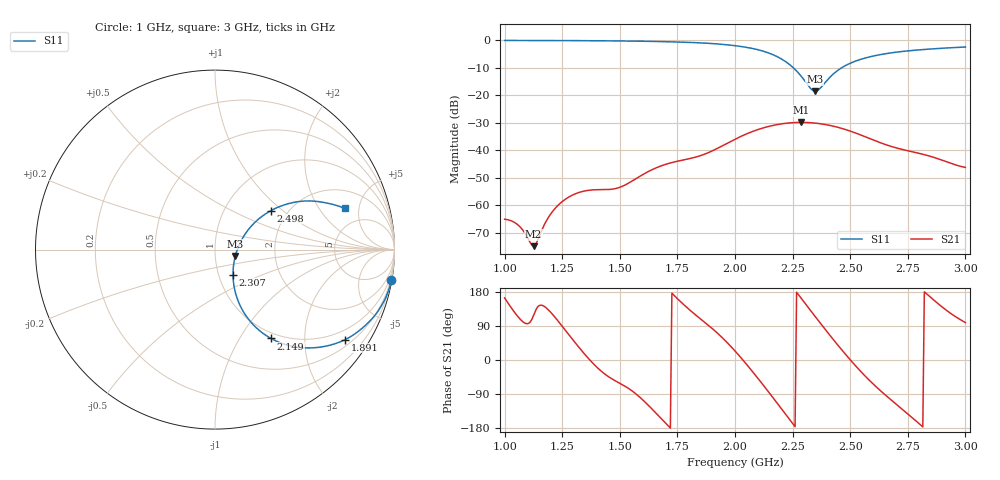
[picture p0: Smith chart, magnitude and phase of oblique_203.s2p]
! TOUCHSTONE file generated by CST MICROWAVE STUDIO
! Date and time: Tue Mar 18 00:03:03 2025
! Project name: oblique.cst
! Parameters = {Tilt=40; Fracture=1; B=12.5; D=160; F=25; Feed=2.85625; L=100; M=30; R=0.384908; S=1; Theta=180; length=57.125; wave=114.25}
! Header version: 2024
! Port assignment regex: !\s*Touchstone port\s*([0-9]+)\s*=\s*(CST MWS port|CST DES external port|CST DES block port)\s*(.+)\s* \(\"(.*)\"\)(\s*mode\s*([0-9]+))?.*
! Touchstone port assignment:
! Touchstone port 1 = CST MWS port 1 ("")
! Touchstone port 2 = CST MWS port 2 ("")
# GHz S DB R 50
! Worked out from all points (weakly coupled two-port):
!   304 points, 1 GHz to 3 GHz, reference 50 ohm
!   highest |S21| = -29.86 dB at 2.287 GHz (marker M1); lowest = -75.0 dB at 1.125 GHz (marker M2)
!   lowest |S11| = -18.5 dB at 2.347 GHz (marker M3), VSWR 1.27, Z = 62.6 - j4.42 ohm
!   |S11| at or under -10 dB: 2.254 GHz to 2.462 GHz (208.7 MHz wide, 8.85 % of centre)
!   S12 and S22 are empty: the file has one direction only
!   S11 on the Smith chart (normalised r, x): 1 GHz: 0, -12; 1.891 GHz: 0.68, -3.06; 2.149 GHz: 0.92, -1.38; 2.307 GHz: 1.17, -0.34; 2.498 GHz: 1.64, +0.84; 3 GHz: 3.28, +3.54
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1  -0.02 -9.8  -65.14 164.0  -200.00 0.0  -200.00 0.0
1.05941  -0.03 -10.6  -67.32 113.3  -200.00 0.0  -200.00 0.0
1.12541  -0.03 -11.6  -74.95 117.3  -200.00 0.0  -200.00 0.0
1.13861  -0.04 -11.8  -73.69 135.8  -200.00 0.0  -200.00 0.0
1.18482  -0.05 -12.5  -65.19 135.4  -200.00 0.0  -200.00 0.0
1.21782  -0.06 -13.1  -61.32 113.4  -200.00 0.0  -200.00 0.0
1.27063  -0.07 -14.0  -57.47 73.1  -200.00 0.0  -200.00 0.0
1.33663  -0.10 -15.3  -55.06 23.1  -200.00 0.0  -200.00 0.0
1.49505  -0.20 -18.9  -53.66 -59.8  -200.00 0.0  -200.00 0.0
1.66667  -0.41 -24.1  -46.11 -146.2  -200.00 0.0  -200.00 0.0
1.89109  -1.10 -34.7  -40.64 88.3  -200.00 0.0  -200.00 0.0
2.0033  -1.96 -42.9  -35.86 21.7  -200.00 0.0  -200.00 0.0
2.14851  -4.66 -57.8  -31.28 -86.5  -200.00 0.0  -200.00 0.0
2.22772  -8.21 -65.3  -30.12 -149.5  -200.00 0.0  -200.00 0.0
2.28713  -13.02 -62.0  -29.86 163.0  -200.00 0.0  -200.00 0.0
2.30693  -15.21 -54.7  -29.89 147.2  -200.00 0.0  -200.00 0.0
2.33993  -18.34 -25.4  -30.06 121.1  -200.00 0.0  -200.00 0.0
2.34653  -18.52 -17.1  -30.11 115.9  -200.00 0.0  -200.00 0.0
2.43894  -11.37 34.4  -31.49 44.8  -200.00 0.0  -200.00 0.0
2.49835  -8.39 34.9  -32.98 1.8  -200.00 0.0  -200.00 0.0
2.66997  -4.63 27.5  -38.41 -101.4  -200.00 0.0  -200.00 0.0
3  -2.41 17.6  -46.27 98.7  -200.00 0.0  -200.00 0.0
